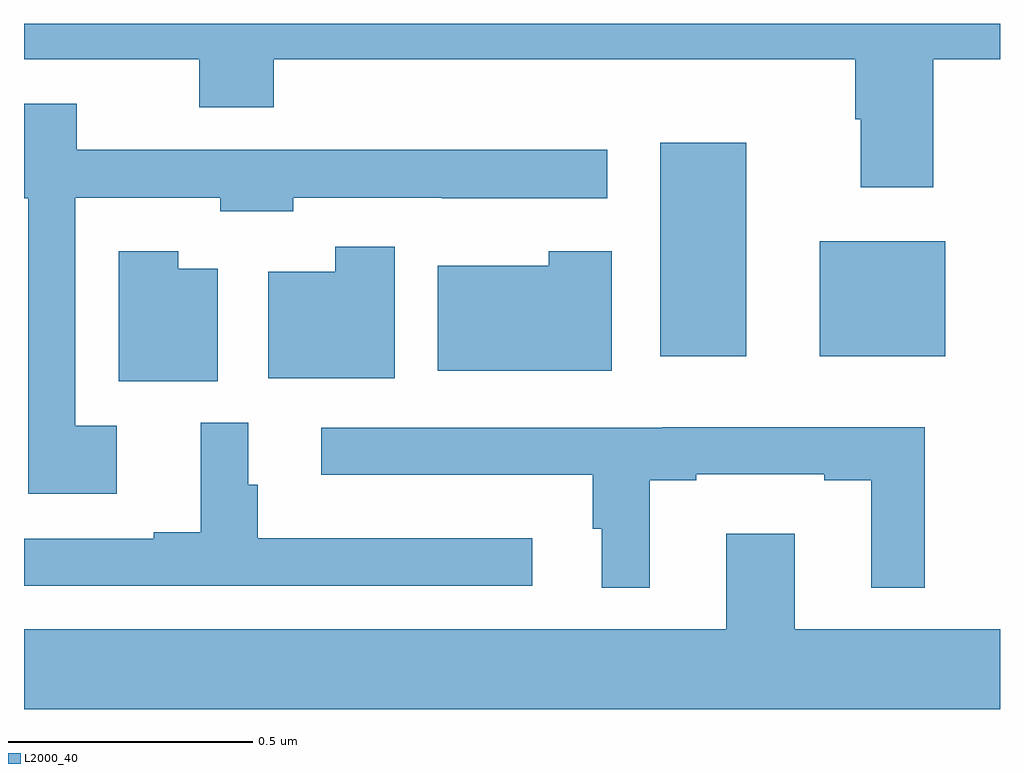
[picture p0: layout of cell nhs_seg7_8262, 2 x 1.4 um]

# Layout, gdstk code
import gdstk
lib = gdstk.Library(unit=1e-6, precision=1e-09)
def R(c, l, rs):  # rectangles x0, y0, x1, y1
    for r in rs: c.add(gdstk.rectangle(r[:2], r[2:], *l))
def P(c, l, *ps):  # polygons
    for p in ps: c.add(gdstk.Polygon(p, *l))
L2000_40 = (2000, 40)

nhs_seg7_8262 = lib.new_cell('nhs_seg7_8262')
R(nhs_seg7_8262, L2000_40, [(223.304,1021.319,223.48,1021.756), (223.631,1021.319,223.888,1021.555)])
P(nhs_seg7_8262, L2000_40, [(223.863,1021.928),(224,1021.928),(224,1022),(222,1022),(222,1021.928),(222.359,1021.928),(222.359,1021.829),(222.512,1021.829),(222.512,1021.928),(223.703,1021.928),(223.703,1021.805),(223.715,1021.805),(223.715,1021.665),(223.863,1021.665)],
  [(222.19,1021.177),(222.105,1021.177),(222.105,1021.644),(222.402,1021.644),(222.402,1021.616),(222.552,1021.616),(222.552,1021.644),(222.856,1021.644),(222.856,1021.643),(223.195,1021.643),(223.195,1021.742),(222.108,1021.742),(222.108,1021.836),(222,1021.836),(222,1021.643),(222.009,1021.643),(222.009,1021.037),(222.19,1021.037)],
  [(222.76,1021.543),(222.638,1021.543),(222.638,1021.492),(222.5,1021.492),(222.5,1021.274),(222.76,1021.274)],
  [(223.204,1021.534),(223.075,1021.534),(223.075,1021.504),(222.848,1021.504),(222.848,1021.289),(223.204,1021.289)],
  [(222.397,1021.498),(222.316,1021.498),(222.316,1021.534),(222.194,1021.534),(222.194,1021.268),(222.397,1021.268)],
  [(223.042,1020.946),(222.479,1020.946),(222.479,1021.056),(222.46,1021.056),(222.46,1021.183),(222.362,1021.183),(222.362,1020.958),(222.266,1020.958),(222.266,1020.945),(222,1020.945),(222,1020.849),(223.042,1020.849)],
  [(223.282,1021.065),(223.378,1021.065),(223.378,1021.077),(223.64,1021.077),(223.64,1021.065),(223.736,1021.065),(223.736,1020.845),(223.846,1020.845),(223.846,1021.174),(223.308,1021.174),(223.308,1021.173),(222.609,1021.173),(222.609,1021.076),(223.165,1021.076),(223.165,1020.966),(223.184,1020.966),(223.184,1020.845),(223.282,1020.845)],
  [(224,1020.76),(223.579,1020.76),(223.579,1020.955),(223.439,1020.955),(223.439,1020.76),(222,1020.76),(222,1020.596),(224,1020.596)])

lib.write_gds('nhs_seg7_8262.gds')
